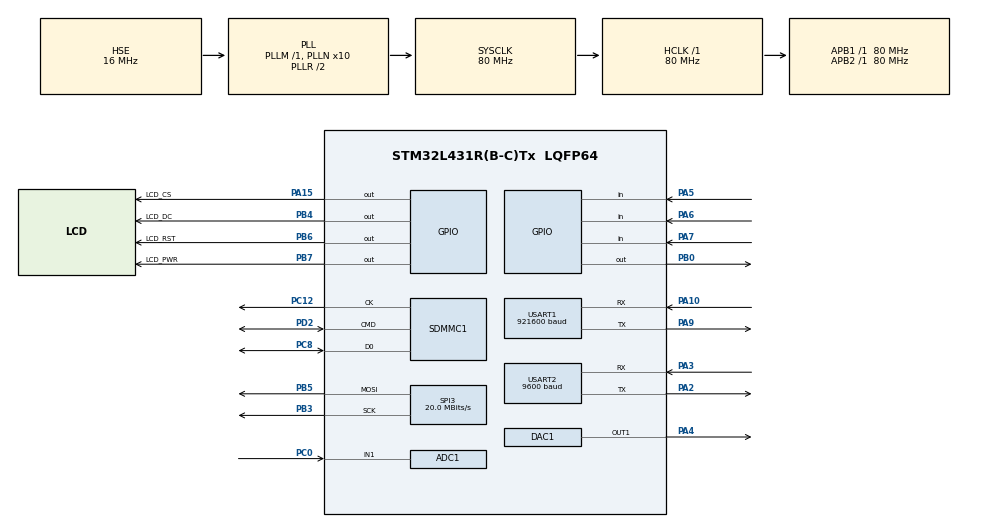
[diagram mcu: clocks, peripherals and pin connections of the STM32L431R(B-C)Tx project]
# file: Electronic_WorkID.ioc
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ADC1.Channel-0\#ChannelRegularConversion=ADC_CHANNEL_1
ADC1.ContinuousConvMode=ENABLE
ADC1.DMAContinuousRequests=ENABLE
ADC1.ExternalTrigConv=ADC_EXTERNALTRIG_T2_TRGO
ADC1.NbrOfConversionFlag=1
ADC1.OffsetNumber-0\#ChannelRegularConversion=ADC_OFFSET_NONE
ADC1.Overrun=ADC_OVR_DATA_OVERWRITTEN
ADC1.Rank-0\#ChannelRegularConversion=1
ADC1.SamplingTime-0\#ChannelRegularConversion=ADC_SAMPLETIME_247CYCLES_5
ADC1.master=1
DAC1.DAC_Trigger-DAC_OUT1_ExtAndInt=DAC_TRIGGER_T6_TRGO
Dma.ADC1.0.Direction=DMA_PERIPH_TO_MEMORY
Dma.ADC1.0.Instance=DMA1_Channel1
Dma.ADC1.0.MemDataAlignment=DMA_MDATAALIGN_HALFWORD
Dma.ADC1.0.MemInc=DMA_MINC_ENABLE
Dma.ADC1.0.Mode=DMA_CIRCULAR
Dma.ADC1.0.PeriphDataAlignment=DMA_PDATAALIGN_HALFWORD
Dma.ADC1.0.PeriphInc=DMA_PINC_DISABLE
Dma.ADC1.0.Priority=DMA_PRIORITY_HIGH
Dma.DAC_CH1.3.Direction=DMA_MEMORY_TO_PERIPH
Dma.DAC_CH1.3.Instance=DMA1_Channel3
Dma.DAC_CH1.3.MemDataAlignment=DMA_MDATAALIGN_HALFWORD
Dma.DAC_CH1.3.MemInc=DMA_MINC_ENABLE
Dma.DAC_CH1.3.Mode=DMA_NORMAL
Dma.DAC_CH1.3.PeriphDataAlignment=DMA_PDATAALIGN_HALFWORD
Dma.DAC_CH1.3.PeriphInc=DMA_PINC_DISABLE
Dma.DAC_CH1.3.Priority=DMA_PRIORITY_LOW
Dma.Request0=ADC1
Dma.Request1=SDMMC1_TX
Dma.Request2=SDMMC1_RX
Dma.Request3=DAC_CH1
Dma.Request4=USART1_RX
Dma.Request5=USART1_TX
Dma.SDMMC1_RX.2.Direction=DMA_PERIPH_TO_MEMORY
Dma.SDMMC1_RX.2.Instance=DMA2_Channel5
Dma.SDMMC1_RX.2.MemDataAlignment=DMA_MDATAALIGN_WORD
Dma.SDMMC1_RX.2.MemInc=DMA_MINC_ENABLE
Dma.SDMMC1_RX.2.Mode=DMA_NORMAL
Dma.SDMMC1_RX.2.PeriphDataAlignment=DMA_PDATAALIGN_WORD
Dma.SDMMC1_RX.2.PeriphInc=DMA_PINC_DISABLE
Dma.SDMMC1_RX.2.Priority=DMA_PRIORITY_HIGH
Dma.SDMMC1_TX.1.Direction=DMA_MEMORY_TO_PERIPH
Dma.SDMMC1_TX.1.Instance=DMA2_Channel4
Dma.SDMMC1_TX.1.MemDataAlignment=DMA_MDATAALIGN_WORD
Dma.SDMMC1_TX.1.MemInc=DMA_MINC_ENABLE
Dma.SDMMC1_TX.1.Mode=DMA_NORMAL
Dma.SDMMC1_TX.1.PeriphDataAlignment=DMA_PDATAALIGN_WORD
Dma.SDMMC1_TX.1.PeriphInc=DMA_PINC_DISABLE
Dma.SDMMC1_TX.1.Priority=DMA_PRIORITY_HIGH
Dma.USART1_RX.4.Direction=DMA_PERIPH_TO_MEMORY
Dma.USART1_RX.4.Instance=DMA1_Channel5
Dma.USART1_RX.4.MemDataAlignment=DMA_MDATAALIGN_BYTE
Dma.USART1_RX.4.MemInc=DMA_MINC_ENABLE
Dma.USART1_RX.4.Mode=DMA_CIRCULAR
Dma.USART1_RX.4.PeriphDataAlignment=DMA_PDATAALIGN_BYTE
Dma.USART1_RX.4.PeriphInc=DMA_PINC_DISABLE
Dma.USART1_RX.4.Priority=DMA_PRIORITY_VERY_HIGH
Dma.USART1_TX.5.Direction=DMA_MEMORY_TO_PERIPH
Dma.USART1_TX.5.Instance=DMA1_Channel4
Dma.USART1_TX.5.MemDataAlignment=DMA_MDATAALIGN_BYTE
Dma.USART1_TX.5.MemInc=DMA_MINC_ENABLE
Dma.USART1_TX.5.Mode=DMA_CIRCULAR
Dma.USART1_TX.5.PeriphDataAlignment=DMA_PDATAALIGN_BYTE
Dma.USART1_TX.5.PeriphInc=DMA_PINC_DISABLE
Dma.USART1_TX.5.Priority=DMA_PRIORITY_VERY_HIGH
FATFS.USE_DMA_CODE_SD=1
FATFS._FS_RPATH=1
FATFS._USE_LFN=1
Mcu.Family=STM32L4
Mcu.Name=STM32L431R(B-C)Tx
Mcu.Package=LQFP64
NVIC.DMA1_Channel1_IRQn=true\:0\:0\:false\:false\:true\:false\:true\:true
NVIC.DMA1_Channel3_IRQn=true\:0\:0\:false\:false\:true\:false\:true\:true
NVIC.DMA1_Channel4_IRQn=true\:0\:0\:false\:false\:true\:false\:true\:true
NVIC.DMA1_Channel5_IRQn=true\:0\:0\:false\:false\:true\:false\:true\:true
NVIC.DMA2_Channel4_IRQn=true\:0\:0\:false\:false\:true\:false\:true\:true
NVIC.DMA2_Channel5_IRQn=true\:0\:0\:false\:false\:true\:false\:true\:true
NVIC.PriorityGroup=NVIC_PRIORITYGROUP_4
NVIC.SDMMC1_IRQn=true\:0\:0\:false\:false\:true\:true\:true\:true
NVIC.TIM2_IRQn=true\:0\:0\:false\:false\:true\:true\:true\:true
NVIC.TIM6_DAC_IRQn=true\:0\:0\:false\:false\:true\:true\:true\:true
NVIC.USART1_IRQn=true\:1\:0\:true\:false\:true\:true\:true\:true
NVIC.USART2_IRQn=true\:2\:0\:true\:false\:true\:true\:true\:true
PA10.Mode=Asynchronous
PA10.Signal=USART1_RX
PA13\ (JTMS-SWDIO).Mode=Serial_Wire
PA13\ (JTMS-SWDIO).Signal=SYS_JTMS-SWDIO
PA14\ (JTCK-SWCLK).Mode=Serial_Wire
PA14\ (JTCK-SWCLK).Signal=SYS_JTCK-SWCLK
PA15\ (JTDI).GPIO_Label=LCD_CS
PA15\ (JTDI).GPIO_PuPd=GPIO_NOPULL
PA15\ (JTDI).GPIO_Speed=GPIO_SPEED_FREQ_LOW
PA15\ (JTDI).PinState=GPIO_PIN_SET
PA15\ (JTDI).Signal=GPIO_Output
PA2.Mode=Asynchronous
PA2.Signal=USART2_TX
PA3.Mode=Asynchronous
PA3.Signal=USART2_RX
PA4.Signal=COMP_DAC11_group
PA5.GPIO_PuPd=GPIO_PULLUP
PA5.Signal=GPIO_Input
PA6.GPIO_PuPd=GPIO_PULLUP
PA6.Signal=GPIO_Input
PA7.GPIO_PuPd=GPIO_PULLUP
PA7.Signal=GPIO_Input
PA9.Mode=Asynchronous
PA9.Signal=USART1_TX
PB0.GPIO_PuPd=GPIO_PULLUP
PB0.PinState=GPIO_PIN_SET
PB0.Signal=GPIO_Output
PB3\ (JTDO-TRACESWO).Mode=TX_Only_Simplex_Unidirect_Master
PB3\ (JTDO-TRACESWO).Signal=SPI3_SCK
PB4\ (NJTRST).GPIO_Label=LCD_DC
PB4\ (NJTRST).GPIO_PuPd=GPIO_NOPULL
PB4\ (NJTRST).GPIO_Speed=GPIO_SPEED_FREQ_LOW
PB4\ (NJTRST).PinState=GPIO_PIN_SET
PB4\ (NJTRST).Signal=GPIO_Output
PB5.Mode=TX_Only_Simplex_Unidirect_Master
PB5.Signal=SPI3_MOSI
PB6.GPIO_Label=LCD_RST
PB6.GPIO_PuPd=GPIO_NOPULL
PB6.GPIO_Speed=GPIO_SPEED_FREQ_LOW
PB6.PinState=GPIO_PIN_SET
PB6.Signal=GPIO_Output
PB7.GPIO_Label=LCD_PWR
PB7.GPIO_PuPd=GPIO_NOPULL
PB7.GPIO_Speed=GPIO_SPEED_FREQ_LOW
PB7.PinState=GPIO_PIN_SET
PB7.Signal=GPIO_Output
PC0.Signal=ADCx_IN1
PC12.Mode=SD_1_bit
PC12.Signal=SDMMC1_CK
PC14-OSC32_IN\ (PC14).Mode=LSE-External-Oscillator
PC14-OSC32_IN\ (PC14).Signal=RCC_OSC32_IN
PC15-OSC32_OUT\ (PC15).Mode=LSE-External-Oscillator
PC15-OSC32_OUT\ (PC15).Signal=RCC_OSC32_OUT
PC8.GPIO_PuPd=GPIO_PULLUP
PC8.Mode=SD_1_bit
PC8.Signal=SDMMC1_D0
PD2.GPIO_PuPd=GPIO_PULLUP
PD2.Mode=SD_1_bit
PD2.Signal=SDMMC1_CMD
PH0-OSC_IN\ (PH0).Mode=HSE-External-Oscillator
PH0-OSC_IN\ (PH0).Signal=RCC_OSC_IN
PH1-OSC_OUT\ (PH1).Mode=HSE-External-Oscillator
PH1-OSC_OUT\ (PH1).Signal=RCC_OSC_OUT
ProjectManager.HeapSize=0x200
ProjectManager.StackSize=0x400
ProjectManager.TargetToolchain=CMake
RCC.ADCFreq_Value=64000000
RCC.AHBFreq_Value=80000000
RCC.APB1Freq_Value=80000000
RCC.APB1TimFreq_Value=80000000
RCC.APB2Freq_Value=80000000
RCC.APB2TimFreq_Value=80000000
RCC.CortexFreq_Value=80000000
RCC.HCLKFreq_Value=80000000
RCC.HSE_VALUE=16000000
RCC.HSI48_VALUE=48000000
RCC.HSI_VALUE=16000000
RCC.MSI_VALUE=4000000
RCC.PLLN=10
RCC.PLLSAI1Q=RCC_PLLQ_DIV4
RCC.PLLSourceVirtual=RCC_PLLSOURCE_HSE
RCC.RTCClockSelection=RCC_RTCCLKSOURCE_LSE
RCC.SYSCLKFreq_VALUE=80000000
RCC.SYSCLKSource=RCC_SYSCLKSOURCE_PLLCLK
RCC.VCOOutputFreq_Value=160000000
RTC.Date=30
RTC.Month=RTC_MONTH_MAY
RTC.WeekDay=RTC_WEEKDAY_SATURDAY
RTC.Year=26
SDMMC1.ClockDiv=118
SH.ADCx_IN1.0=ADC1_IN1,IN1-Single-Ended
SH.COMP_DAC11_group.0=DAC1_OUT1,DAC_OUT1_ExtAndInt
SPI3.BaudRatePrescaler=SPI_BAUDRATEPRESCALER_4
SPI3.CalculateBaudRate=20.0 MBits/s
SPI3.DataSize=SPI_DATASIZE_8BIT
SPI3.Direction=SPI_DIRECTION_2LINES
SPI3.Mode=SPI_MODE_MASTER
SPI3.VirtualType=VM_MASTER
TIM2.AutoReloadPreload=TIM_AUTORELOAD_PRELOAD_ENABLE
TIM2.Period=4999
TIM2.Prescaler=0
TIM2.TIM_MasterOutputTrigger=TIM_TRGO_UPDATE
TIM6.Period=4999
TIM6.Prescaler=0
TIM6.TIM_MasterOutputTrigger=TIM_TRGO_UPDATE
USART1.BaudRate=921600
USART1.VirtualMode-Asynchronous=VM_ASYNC
USART2.BaudRate=9600
USART2.VirtualMode-Asynchronous=VM_ASYNC
VP_FATFS_VS_SDIO.Mode=SDIO
VP_RTC_VS_RTC_Activate.Mode=RTC_Enabled
VP_RTC_VS_RTC_Calendar.Mode=RTC_Calendar
VP_TIM2_VS_ClockSourceINT.Mode=Internal
VP_TIM6_VS_ClockSourceINT.Mode=Enable_Timer
board=custom

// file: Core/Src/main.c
/* USER CODE BEGIN Header */
/**
  ******************************************************************************
  * @file           : main.c
  * @brief          : Main program body
  ******************************************************************************
  * @attention
  *
  * Copyright (c) 2026 STMicroelectronics.
  * All rights reserved.
  *
  * This software is licensed under terms that can be found in the LICENSE file
  * in the root directory of this software component.
  * If no LICENSE file comes with this software, it is provided AS-IS.
  *
  ******************************************************************************
  */
/* USER CODE END Header */
#include "main.h"
#include "adc.h"
#include "dac.h"
#include "dma.h"
#include "fatfs.h"
#include "rtc.h"
#include "sdmmc.h"
#include "spi.h"
#include "tim.h"
#include "usart.h"
#include "gpio.h"

/* USER CODE BEGIN Includes */
#include "stdio.h"
#include "st7735.h"
#include "fonts.h"
#include "led.h"
#include "audio_detect.h"
#include "lcd_display.h"
#include "gps.h"
#include "recorder.h"
#include "key.h"
#include "tts_player.h"
#include "four_g_mqtt.h"
#include "four_g_time.h"
#include "audio_uploader.h"

/* USER CODE END Includes */

/* USER CODE BEGIN PTD */
typedef enum {
  GPS_UPLOAD_STATE_IDLE = 0,
  GPS_UPLOAD_STATE_CONNECT_WAIT,
  GPS_UPLOAD_STATE_TIME_WAIT,
  GPS_UPLOAD_STATE_PUBLISH_WAIT,
  GPS_UPLOAD_STATE_DISCONNECT_WAIT
} GpsUploadState_t;

typedef enum {
  WORK_CARD_TIME_IDLE = 0,
  WORK_CARD_TIME_WAIT_RETRY,
  WORK_CARD_TIME_QUERY_BUSY,
  WORK_CARD_TIME_OK,
  WORK_CARD_TIME_FAILED
} WorkCardTimeState_t;

/* USER CODE END PTD */

/* USER CODE BEGIN PV */
static GpsUploadState_t gGpsUploadState = GPS_UPLOAD_STATE_IDLE;
static float gPendingGpsLatitude = 0.0f;
static float gPendingGpsLongitude = 0.0f;
static char gPendingGpsTimestamp[24];

/* USER CODE END PV */

void SystemClock_Config(void);
void PeriphCommonClock_Config(void);
/* USER CODE BEGIN PFP */
// 保留旧声音检测功能相关缓冲区定义（当前不启用）
// #define ADC_BUFFER_SIZE  128
// uint16_t adc_buffer1[ADC_BUFFER_SIZE];
// uint16_t adc_buffer2[ADC_BUFFER_SIZE];

/* 录音模块全局上下文：负责采样、缓存和写卡状态 */
static Recorder_t gRecorder;
#define RECORD_SLICE_DURATION_MS  10000U
static uint32_t gRecordingSessionId = 0U;
static uint32_t gCurrentSessionId = 0U;
static uint16_t gCurrentSliceIndex = 0U;
static uint32_t gSliceStartTick = 0U;
static char gCurrentWavName[AUDIO_UPLOADER_FILENAME_MAX];

static void BuildWavFilename(char *buffer, uint16_t buffer_size, uint32_t session_id, uint16_t slice_index)
{
  if ((buffer == NULL) || (buffer_size == 0U)) {
    return;
  }

  (void)snprintf(buffer, buffer_size, "%lu_%04u.wav", (unsigned long)session_id, (unsigned int)slice_index);
}
static uint8_t App_CalcWeekday(uint16_t year, uint8_t month, uint8_t day)
{
  static const uint8_t month_offset[12] = {0U, 3U, 2U, 5U, 0U, 3U, 5U, 1U, 4U, 6U, 2U, 4U};
  uint16_t y = year;
  uint8_t weekday;

  if ((month < 1U) || (month > 12U)) {
    return RTC_WEEKDAY_MONDAY;
  }

  if (month < 3U) {
    y--;
  }

  weekday = (uint8_t)((y + y / 4U - y / 100U + y / 400U + month_offset[month - 1U] + day) % 7U);
  return (weekday == 0U) ? RTC_WEEKDAY_SUNDAY : weekday;
}

static bool App_SetRtcFromFourGTime(const FourGTime_t *time)
{
  RTC_TimeTypeDef rtc_time = {0};
  RTC_DateTypeDef rtc_date = {0};

  if ((time == NULL) || (time->year < 2000U) || (time->month < 1U) || (time->month > 12U)) {
    return false;
  }

  rtc_time.Hours = time->hour;
  rtc_time.Minutes = time->minute;
  rtc_time.Seconds = time->second;
  rtc_time.DayLightSaving = RTC_DAYLIGHTSAVING_NONE;
  rtc_time.StoreOperation = RTC_STOREOPERATION_RESET;

  rtc_date.Year = (uint8_t)(time->year - 2000U);
  rtc_date.Month = time->month;
  rtc_date.Date = time->day;
  rtc_date.WeekDay = App_CalcWeekday(time->year, time->month, time->day);

  if (HAL_RTC_SetTime(&hrtc, &rtc_time, RTC_FORMAT_BIN) != HAL_OK) {
    return false;
  }

  return HAL_RTC_SetDate(&hrtc, &rtc_date, RTC_FORMAT_BIN) == HAL_OK;
}

static bool App_DisplayRtcClock(bool force_refresh)
{
  static uint8_t last_hour = 0xFFU;
  static uint8_t last_minute = 0xFFU;
  RTC_TimeTypeDef rtc_time = {0};
  RTC_DateTypeDef rtc_date = {0};

  if (HAL_RTC_GetTime(&hrtc, &rtc_time, RTC_FORMAT_BIN) != HAL_OK) {
    return false;
  }

  if (HAL_RTC_GetDate(&hrtc, &rtc_date, RTC_FORMAT_BIN) != HAL_OK) {
    return false;
  }

  if (force_refresh || (rtc_time.Hours != last_hour) || (rtc_time.Minutes != last_minute)) {
    LCD_DisplayClockValue(rtc_time.Hours, rtc_time.Minutes);
    last_hour = rtc_time.Hours;
    last_minute = rtc_time.Minutes;
  }

  return true;
}
/* USER CODE END PFP */

/* USER CODE BEGIN 0 */
void MX_TIM2_Init(void);
/* USER CODE END 0 */

int main(void)
{

  /* MCU Configuration--------------------------------------------------------*/

  /* Reset of all peripherals, Initializes the Flash interface and the Systick. */
  HAL_Init();

  /* Configure the system clock */
  SystemClock_Config();

  /* Configure the peripherals common clocks */
  PeriphCommonClock_Config();

  /* Initialize all configured peripherals */
  MX_GPIO_Init();
  MX_DMA_Init();
  MX_SPI3_Init();
  MX_ADC1_Init();
  MX_TIM2_Init();
  MX_USART2_UART_Init();
  MX_SDMMC1_SD_Init();
  MX_FATFS_Init();
  MX_DAC1_Init();
  MX_TIM6_Init();
  MX_USART1_UART_Init();
  MX_RTC_Init();
  /* USER CODE BEGIN 2 */
  FourG_MQTT_Init(&huart1);
  FourG_Time_Init(&huart1);
  AudioUploader_Init();

  ST7735_Init();
  LED_Init();
  TTS_Player_Init();

  /* 不在上电阶段初始化录音存储链路，避免 SD/FATFS 上电抖动影响主循环 */

  // 初始化 LCD 显示
  LCD_DisplayInit();

  // 初始化 GPS 模块
  GPS_Init();
  clrStruct();

  /* USER CODE END 2 */

  /* Infinite loop */
  /* USER CODE BEGIN WHILE */

  // 显示状态标志
  static bool soundDisplayState = false;      // 声音检测显示状态（旧功能保留）
  static bool gpsDisplayState = false;        // GPS 显示状态
  static uint32_t lastUploadDisplayTick = 0U; // 上一次上传状态刷新时间
  static uint32_t uploadEnableTick = 0U;      // 停止录音后延迟启动上传的时间点
  static bool stopMsgActive = false;          // 停止录音提示是否处于显示中
  static uint32_t stopMsgStartTick = 0U;      // 停止录音提示起始时间
  static bool errorMsgActive = false;         // SD 错误提示显示中
  static uint32_t errorMsgStartTick = 0U;     // SD 错误提示起始时间
  static bool pendingStartRecordingAfterTts = false;
  static bool waitingStartRecordingDelay = false;
  static uint32_t startRecordingDelayTick = 0U;
  static uint8_t key0PrevPressed = 0U;        // KEY0 上一次稳定按下状态
  static uint8_t key1PrevPressed = 0U;        // KEY1 上一次稳定按下状态
  static uint8_t key2PrevPressed = 0U;        // KEY2 上一次稳定按下状态
  static bool workCardDisplayActive = false;  // 电子工牌测试界面显示中
  static WorkCardTimeState_t workCardTimeState = WORK_CARD_TIME_IDLE;
  static uint32_t workCardTimeNextTryTick = 0U;
  static uint32_t workCardClockRefreshTick = 0U;
  static uint8_t workCardTimeTryCount = 0U;

  static uint32_t lastGpsUploadTick = 0U;     // 上一次 4G 上传 GPS 的时间
  static bool gpsLocationUploaded = false;    // 是否已经上传过有效 GPS 位置
  uint8_t key0Pressed = 0U;
  uint8_t key1Pressed = 0U;
  uint8_t key2Pressed = 0U;
  RecorderResult_t rec_ret = RECORDER_OK;

  key0PrevPressed = (KEY0 == KEY0_ON) ? 1U : 0U;
  key1PrevPressed = (KEY1 == KEY1_ON) ? 1U : 0U;
  key2PrevPressed = (KEY2 == KEY2_ON) ? 1U : 0U;

  while (1)
  {
    // LED_Process();

    /* 开始录音提示音结束后，延迟 10ms 再真正启动录音上传，避免提示音进入录音并让外设状态稳定 */
    if (pendingStartRecordingAfterTts && !TTS_Player_IsBusy()) {
      pendingStartRecordingAfterTts = false;
      waitingStartRecordingDelay = true;
      startRecordingDelayTick = HAL_GetTick();
    }

    if (waitingStartRecordingDelay && ((HAL_GetTick() - startRecordingDelayTick) >= 10U)) {
      waitingStartRecordingDelay = false;

      if ((Recorder_GetState(&gRecorder) == RECORDER_STATE_IDLE) ||
          (Recorder_GetState(&gRecorder) == RECORDER_STATE_ERROR)) {
        rec_ret = Recorder_Init(&gRecorder);
        if (rec_ret != RECORDER_OK) {
          LCD_DisplayStorageErrorDetail(Recorder_GetLastErrorStage(&gRecorder), Recorder_GetLastFresult(&gRecorder));
          errorMsgActive = true;
          errorMsgStartTick = HAL_GetTick();
          continue;
        }
      }

      if (Recorder_GetState(&gRecorder) == RECORDER_STATE_READY) {
        AudioUploader_Abort();
        uploadEnableTick = 0U;
        gRecordingSessionId++;
        if (gRecordingSessionId == 0U) {
          gRecordingSessionId = 1U;
        }
        gCurrentSessionId = gRecordingSessionId;
        gCurrentSliceIndex = 1U;
        BuildWavFilename(gCurrentWavName, sizeof(gCurrentWavName), gCurrentSessionId, gCurrentSliceIndex);

        rec_ret = Recorder_Start(&gRecorder, gCurrentWavName, 0U);
        if (rec_ret == RECORDER_OK) {
          gSliceStartTick = HAL_GetTick();
          LCD_DisplayRecordingStarted();
          stopMsgActive = false;
          errorMsgActive = false;
        } else {
          LCD_DisplayStorageErrorDetail(Recorder_GetLastErrorStage(&gRecorder), Recorder_GetLastFresult(&gRecorder));
          errorMsgActive = true;
          errorMsgStartTick = HAL_GetTick();
        }
      }
    }

    /* 录音过程中持续搬运双缓冲数据并写入 SD */
    if (Recorder_GetState(&gRecorder) == RECORDER_STATE_RECORDING) {
      rec_ret = Recorder_Process(&gRecorder);
      if (rec_ret != RECORDER_OK) {
        LCD_DisplayStorageErrorDetail(Recorder_GetLastErrorStage(&gRecorder), Recorder_GetLastFresult(&gRecorder));
        errorMsgActive = true;
        errorMsgStartTick = HAL_GetTick();
      } else if ((HAL_GetTick() - gSliceStartTick) >= RECORD_SLICE_DURATION_MS) {
        char completedWavName[AUDIO_UPLOADER_FILENAME_MAX];
        char nextWavName[AUDIO_UPLOADER_FILENAME_MAX];

        (void)snprintf(completedWavName, sizeof(completedWavName), "%s", gCurrentWavName);
        gCurrentSliceIndex++;
        BuildWavFilename(nextWavName, sizeof(nextWavName), gCurrentSessionId, gCurrentSliceIndex);

        rec_ret = Recorder_SwitchFile(&gRecorder, nextWavName);
        if (rec_ret == RECORDER_OK) {
          (void)AudioUploader_EnqueueFile(completedWavName, gCurrentSessionId, false);
          (void)snprintf(gCurrentWavName, sizeof(gCurrentWavName), "%s", nextWavName);
          gSliceStartTick = HAL_GetTick();
        } else {
          LCD_DisplayStorageErrorDetail(Recorder_GetLastErrorStage(&gRecorder), Recorder_GetLastFresult(&gRecorder));
          errorMsgActive = true;
          errorMsgStartTick = HAL_GetTick();
        }
      }
    }

    /*
    // 旧功能保留：声音检测并切屏显示
    SoundDetector_Process(&gSoundDetector);
    if (SoundDetector_IsDetected(&gSoundDetector))
    {
      if (!soundDisplayState)
      {
        LCD_DisplaySoundDetected();
        soundDisplayState = true;
      }
    }
    else
    {
      if (soundDisplayState)
      {
        soundDisplayState = false;
        LCD_DisplayWaiting();
      }
    }
    */
    (void)soundDisplayState;

    /* 独立读取三个按键，避免共享状态机导致按键被漏检 */
    key0Pressed = (KEY0 == KEY0_ON) ? 1U : 0U;
    key1Pressed = (KEY1 == KEY1_ON) ? 1U : 0U;
    key2Pressed = (KEY2 == KEY2_ON) ? 1U : 0U;

    if ((key0Pressed != 0U) && (key0PrevPressed == 0U)) {
      /* KEY0(PA7): 开始录音 */
      if ((Recorder_GetState(&gRecorder) != RECORDER_STATE_RECORDING) &&
          !pendingStartRecordingAfterTts &&
          !waitingStartRecordingDelay &&
          !TTS_Player_IsBusy()) {
        if (TTS_Player_PlayStartRecord()) {
          FourG_Time_AsyncCancel();
          workCardDisplayActive = false;
          pendingStartRecordingAfterTts = true;
          stopMsgActive = false;
          errorMsgActive = false;
        }
      }
    }

    if ((key1Pressed != 0U) && (key1PrevPressed == 0U)) {
      /* KEY1(PA6): 停止录音并回填 WAV 头 */
      if (Recorder_GetState(&gRecorder) == RECORDER_STATE_RECORDING) {
        rec_ret = Recorder_Stop(&gRecorder);
        if (rec_ret == RECORDER_OK) {
          if (gCurrentSessionId != 0U) {
            (void)AudioUploader_EnqueueFile(gCurrentWavName, gCurrentSessionId, true);
            AudioUploader_MarkLastQueuedFileFinal(gCurrentSessionId);
          }
          FourG_Time_AsyncCancel();
          workCardDisplayActive = false;
          LCD_DisplayRecordingStopped();
          stopMsgActive = true;
          stopMsgStartTick = HAL_GetTick();
          uploadEnableTick = HAL_GetTick() + 5000U;
          errorMsgActive = false;
          gCurrentSessionId = 0U;
          gCurrentSliceIndex = 0U;
          (void)TTS_Player_PlayStopRecord();
        } else {
          LCD_DisplayStorageErrorDetail(Recorder_GetLastErrorStage(&gRecorder), Recorder_GetLastFresult(&gRecorder));
          errorMsgActive = true;
          errorMsgStartTick = HAL_GetTick();
        }
      }
    }

    if ((key2Pressed != 0U) && (key2PrevPressed == 0U)) {
      /* KEY2(PA5): 进入电子工牌测试界面并启动 4G 时间同步 */
      workCardDisplayActive = true;
      FourG_Time_AsyncCancel();
      workCardTimeState = WORK_CARD_TIME_WAIT_RETRY;
      workCardTimeTryCount = 0U;
      workCardTimeNextTryTick = HAL_GetTick();
      workCardClockRefreshTick = 0U;
      stopMsgActive = false;
      errorMsgActive = false;
      gpsDisplayState = false;
      LCD_DisplayWorkCardInit();
    }

    if (workCardDisplayActive) {
      if (workCardTimeState == WORK_CARD_TIME_WAIT_RETRY) {
        if ((int32_t)(HAL_GetTick() - workCardTimeNextTryTick) >= 0) {
          FourGTime_t networkTime;
          FourGTimeResult_t timeResult;

          workCardTimeTryCount++;
          timeResult = FourG_Time_Get(&networkTime, 3000U);
          FourG_MQTT_Init(&huart1);

          if ((timeResult == FOUR_G_TIME_OK) && App_SetRtcFromFourGTime(&networkTime)) {
            bool forceClockRefresh = (workCardClockRefreshTick == 0U);
            (void)App_DisplayRtcClock(forceClockRefresh);
            workCardClockRefreshTick = HAL_GetTick();

            if (workCardTimeTryCount >= 5U) {
              workCardTimeState = WORK_CARD_TIME_OK;
            } else {
              workCardTimeNextTryTick = HAL_GetTick() + 1000U;
            }
          } else if (workCardTimeTryCount >= 5U) {
            workCardTimeState = WORK_CARD_TIME_FAILED;
            LCD_DisplayClockInvalid();
          } else {
            workCardTimeNextTryTick = HAL_GetTick() + 1000U;
          }
        }
      } else if ((workCardTimeState == WORK_CARD_TIME_OK) &&
                 ((workCardClockRefreshTick == 0U) || ((HAL_GetTick() - workCardClockRefreshTick) >= 1000U))) {
        workCardClockRefreshTick = HAL_GetTick();
        if (!App_DisplayRtcClock(false)) {
          workCardTimeState = WORK_CARD_TIME_FAILED;
          LCD_DisplayClockInvalid();
        }
      }
    }

    key0PrevPressed = key0Pressed;
    key1PrevPressed = key1Pressed;
    key2PrevPressed = key2Pressed;

    if (stopMsgActive && ((HAL_GetTick() - stopMsgStartTick) >= 2000U)) {
      LCD_DisplayInit();
      stopMsgActive = false;
    }

    if (errorMsgActive && ((HAL_GetTick() - errorMsgStartTick) >= 2000U)) {
      LCD_DisplayInit();
      errorMsgActive = false;
    }

    // 处理 GPS 数据
    {
      uint8_t gpsParsed = 0U;

      parseGpsBuffer();
      if (Save_Data.isParseData)
      {
        gpsParsed = 1U;
      }

      switch (gGpsUploadState)
      {
        case GPS_UPLOAD_STATE_CONNECT_WAIT:
        {
          FourGMqttAsyncStatus_t status = FourG_MQTT_AsyncProcess();
          if (status == FOUR_G_MQTT_ASYNC_DONE)
          {
            if (FourG_MQTT_AsyncGetUnixTimeStart() == FOUR_G_MQTT_OK)
            {
              gGpsUploadState = GPS_UPLOAD_STATE_TIME_WAIT;
            }
            else
            {
              (void)snprintf(gPendingGpsTimestamp, sizeof(gPendingGpsTimestamp), "1970-01-01T00:00:00Z");
              if (FourG_MQTT_AsyncPublishLocationStart(gPendingGpsLatitude, gPendingGpsLongitude, gPendingGpsTimestamp) == FOUR_G_MQTT_OK)
              {
                gGpsUploadState = GPS_UPLOAD_STATE_PUBLISH_WAIT;
              }
              else if (FourG_MQTT_AsyncDisconnectStart() == FOUR_G_MQTT_OK)
              {
                gGpsUploadState = GPS_UPLOAD_STATE_DISCONNECT_WAIT;
              }
              else
              {
                lastGpsUploadTick = HAL_GetTick();
                gGpsUploadState = GPS_UPLOAD_STATE_IDLE;
              }
            }
          }
          else if (status == FOUR_G_MQTT_ASYNC_ERROR)
          {
            if (FourG_MQTT_AsyncDisconnectStart() == FOUR_G_MQTT_OK)
            {
              gGpsUploadState = GPS_UPLOAD_STATE_DISCONNECT_WAIT;
            }
            else
            {
              lastGpsUploadTick = HAL_GetTick();
              gGpsUploadState = GPS_UPLOAD_STATE_IDLE;
            }
          }
          break;
        }

        case GPS_UPLOAD_STATE_TIME_WAIT:
        {
          FourGMqttAsyncStatus_t status = FourG_MQTT_AsyncProcess();
          if (status == FOUR_G_MQTT_ASYNC_DONE)
          {
            if (!FourG_MQTT_AsyncGetTimestamp(gPendingGpsTimestamp, sizeof(gPendingGpsTimestamp)))
            {
              (void)snprintf(gPendingGpsTimestamp, sizeof(gPendingGpsTimestamp), "1970-01-01T00:00:00Z");
            }

            if (FourG_MQTT_AsyncPublishLocationStart(gPendingGpsLatitude, gPendingGpsLongitude, gPendingGpsTimestamp) == FOUR_G_MQTT_OK)
            {
              gGpsUploadState = GPS_UPLOAD_STATE_PUBLISH_WAIT;
            }
            else if (FourG_MQTT_AsyncDisconnectStart() == FOUR_G_MQTT_OK)
            {
              gGpsUploadState = GPS_UPLOAD_STATE_DISCONNECT_WAIT;
            }
            else
            {
              lastGpsUploadTick = HAL_GetTick();
              gGpsUploadState = GPS_UPLOAD_STATE_IDLE;
            }
          }
          else if (status == FOUR_G_MQTT_ASYNC_ERROR)
          {
            (void)snprintf(gPendingGpsTimestamp, sizeof(gPendingGpsTimestamp), "1970-01-01T00:00:00Z");
            if (FourG_MQTT_AsyncPublishLocationStart(gPendingGpsLatitude, gPendingGpsLongitude, gPendingGpsTimestamp) == FOUR_G_MQTT_OK)
            {
              gGpsUploadState = GPS_UPLOAD_STATE_PUBLISH_WAIT;
            }
            else if (FourG_MQTT_AsyncDisconnectStart() == FOUR_G_MQTT_OK)
            {
              gGpsUploadState = GPS_UPLOAD_STATE_DISCONNECT_WAIT;
            }
            else
            {
              lastGpsUploadTick = HAL_GetTick();
              gGpsUploadState = GPS_UPLOAD_STATE_IDLE;
            }
          }
          break;
        }

        case GPS_UPLOAD_STATE_PUBLISH_WAIT:
        {
          FourGMqttAsyncStatus_t status = FourG_MQTT_AsyncProcess();
          if (status == FOUR_G_MQTT_ASYNC_DONE)
          {
            lastGpsUploadTick = HAL_GetTick();
            gpsLocationUploaded = true;
            gGpsUploadState = GPS_UPLOAD_STATE_IDLE;
          }
          else if (status == FOUR_G_MQTT_ASYNC_ERROR)
          {
            if (FourG_MQTT_AsyncDisconnectStart() == FOUR_G_MQTT_OK)
            {
              gGpsUploadState = GPS_UPLOAD_STATE_DISCONNECT_WAIT;
            }
            else
            {
              lastGpsUploadTick = HAL_GetTick();
              gGpsUploadState = GPS_UPLOAD_STATE_IDLE;
            }
          }
          break;
        }

        case GPS_UPLOAD_STATE_DISCONNECT_WAIT:
        {
          FourGMqttAsyncStatus_t status = FourG_MQTT_AsyncProcess();
          if (status != FOUR_G_MQTT_ASYNC_BUSY)
          {
            lastGpsUploadTick = HAL_GetTick();
            gGpsUploadState = GPS_UPLOAD_STATE_IDLE;
          }
          break;
        }

        case GPS_UPLOAD_STATE_IDLE:
        default:
          break;
      }

      if (false &&
          (gGpsUploadState == GPS_UPLOAD_STATE_IDLE) &&
          (gpsParsed != 0U) && (Save_Data.isUsefull) &&
          (Recorder_GetState(&gRecorder) != RECORDER_STATE_RECORDING) &&
          !stopMsgActive && !errorMsgActive &&
          (!gpsLocationUploaded || ((HAL_GetTick() - lastGpsUploadTick) >= 30000U)))
      {
        float latitude = ConvertLatitude(Save_Data.latitude, Save_Data.N_S[0]);
        float longitude = ConvertLongitude(Save_Data.longitude, Save_Data.E_W[0]);

        if ((latitude != 0.0f) && (longitude != 0.0f) && !AudioUploader_IsBusy())
        {
          gPendingGpsLatitude = latitude;
          gPendingGpsLongitude = longitude;
          if (FourG_MQTT_AsyncEnsureConnectedStart() == FOUR_G_MQTT_OK)
          {
            gGpsUploadState = GPS_UPLOAD_STATE_CONNECT_WAIT;
          }
          else
          {
            lastGpsUploadTick = HAL_GetTick();
          }
        }
      }

      if (!workCardDisplayActive && !stopMsgActive && !errorMsgActive &&
          (Recorder_GetState(&gRecorder) != RECORDER_STATE_RECORDING))
      {
        if ((gpsParsed != 0U) || !gpsDisplayState)
        {
          LCD_DisplayGPS();
          gpsDisplayState = true;
        }
      }

      if (gpsParsed != 0U)
      {
        Save_Data.isParseData = false;
      }

      /* GPS printf debug is disabled because __io_putchar is not retargeted in this project. */
    }

    // GPS 调试信息：显示接收计数（始终显示）
    // {
    //   static uint32_t lastRxCount = 0;
    //   static uint32_t lastDisplayTick = 0;
    //   uint32_t currentRxCount = GPS_GetRxCount();

    //   if (HAL_GetTick() - lastDisplayTick > 1000) {
    //     lastDisplayTick = HAL_GetTick();

    //     ST7735_FillRect(0, 64, ST7735_WIDTH, 16, ST7735_BLACK);

    //     if (currentRxCount != lastRxCount) {
    //       LCD_DisplayDebug(0, "GPS Rx: %lu bytes", currentRxCount);
    //       lastRxCount = currentRxCount;
    //     } else if (currentRxCount > 0) {
    //       LCD_DisplayDebug(0, "GPS Rx: %lu live", currentRxCount);
    //     } else {
    //       LCD_DisplayDebug(0, "GPS Rx: waiting");
    //     }
    //   }
    // }

    if (!workCardDisplayActive &&
        (Recorder_GetState(&gRecorder) != RECORDER_STATE_RECORDING) &&
        !stopMsgActive && !errorMsgActive) {
      if ((HAL_GetTick() - lastUploadDisplayTick) >= 1000U) {
        lastUploadDisplayTick = HAL_GetTick();
        LCD_DisplayUploadStatus();
      }

      if ((uploadEnableTick == 0U) || ((int32_t)(HAL_GetTick() - uploadEnableTick) >= 0)) {
        AudioUploader_Process();
      }
    }

    /* USER CODE END WHILE */

  }
}

void SystemClock_Config(void)
{
  RCC_OscInitTypeDef RCC_OscInitStruct = {0};
  RCC_ClkInitTypeDef RCC_ClkInitStruct = {0};

  /** Configure the main internal regulator output voltage
  */
  if (HAL_PWREx_ControlVoltageScaling(PWR_REGULATOR_VOLTAGE_SCALE1) != HAL_OK)
  {
    Error_Handler();
  }

  /** Configure LSE Drive Capability
  */
  HAL_PWR_EnableBkUpAccess();
  __HAL_RCC_LSEDRIVE_CONFIG(RCC_LSEDRIVE_LOW);

  /** Initializes the RCC Oscillators according to the specified parameters
  * in the RCC_OscInitTypeDef structure.
  */
  RCC_OscInitStruct.OscillatorType = RCC_OSCILLATORTYPE_HSE|RCC_OSCILLATORTYPE_LSE;
  RCC_OscInitStruct.HSEState = RCC_HSE_ON;
  RCC_OscInitStruct.LSEState = RCC_LSE_ON;
  RCC_OscInitStruct.PLL.PLLState = RCC_PLL_ON;
  RCC_OscInitStruct.PLL.PLLSource = RCC_PLLSOURCE_HSE;
  RCC_OscInitStruct.PLL.PLLM = 1;
  RCC_OscInitStruct.PLL.PLLN = 10;
  RCC_OscInitStruct.PLL.PLLP = RCC_PLLP_DIV7;
  RCC_OscInitStruct.PLL.PLLQ = RCC_PLLQ_DIV2;
  RCC_OscInitStruct.PLL.PLLR = RCC_PLLR_DIV2;
  if (HAL_RCC_OscConfig(&RCC_OscInitStruct) != HAL_OK)
  {
    Error_Handler();
  }

  /** Initializes the CPU, AHB and APB buses clocks
  */
  RCC_ClkInitStruct.ClockType = RCC_CLOCKTYPE_HCLK|RCC_CLOCKTYPE_SYSCLK
                              |RCC_CLOCKTYPE_PCLK1|RCC_CLOCKTYPE_PCLK2;
  RCC_ClkInitStruct.SYSCLKSource = RCC_SYSCLKSOURCE_PLLCLK;
  RCC_ClkInitStruct.AHBCLKDivider = RCC_SYSCLK_DIV1;
  RCC_ClkInitStruct.APB1CLKDivider = RCC_HCLK_DIV1;
  RCC_ClkInitStruct.APB2CLKDivider = RCC_HCLK_DIV1;

  if (HAL_RCC_ClockConfig(&RCC_ClkInitStruct, FLASH_LATENCY_4) != HAL_OK)
  {
    Error_Handler();
  }
}

void PeriphCommonClock_Config(void)
{
  RCC_PeriphCLKInitTypeDef PeriphClkInit = {0};

  /** Initializes the peripherals clock
  */
  PeriphClkInit.PeriphClockSelection = RCC_PERIPHCLK_SDMMC1|RCC_PERIPHCLK_ADC;
  PeriphClkInit.AdcClockSelection = RCC_ADCCLKSOURCE_PLLSAI1;
  PeriphClkInit.Sdmmc1ClockSelection = RCC_SDMMC1CLKSOURCE_PLLSAI1;
  PeriphClkInit.PLLSAI1.PLLSAI1Source = RCC_PLLSOURCE_HSE;
  PeriphClkInit.PLLSAI1.PLLSAI1M = 1;
  PeriphClkInit.PLLSAI1.PLLSAI1N = 8;
  PeriphClkInit.PLLSAI1.PLLSAI1P = RCC_PLLP_DIV7;
  PeriphClkInit.PLLSAI1.PLLSAI1Q = RCC_PLLQ_DIV4;
  PeriphClkInit.PLLSAI1.PLLSAI1R = RCC_PLLR_DIV2;
  PeriphClkInit.PLLSAI1.PLLSAI1ClockOut = RCC_PLLSAI1_48M2CLK|RCC_PLLSAI1_ADC1CLK;
  if (HAL_RCCEx_PeriphCLKConfig(&PeriphClkInit) != HAL_OK)
  {
    Error_Handler();
  }
}

/* USER CODE BEGIN 4 */
void HAL_ADC_ConvHalfCpltCallback(ADC_HandleTypeDef* hadc)
{
  if (hadc->Instance != ADC1) {
    return;
  }

  /* DMA 半传输中断：标记并搬运前半缓冲 */
  Recorder_OnAdcHalfComplete(&gRecorder);

  // 旧功能保留（不启用）：
  // SoundDetector_OnAdcHalfComplete(&gSoundDetector);
}

void HAL_ADC_ConvCpltCallback(ADC_HandleTypeDef* hadc)
{
  if (hadc->Instance != ADC1) {
    return;
  }

  /* DMA 全传输中断：标记并搬运后半缓冲 */
  Recorder_OnAdcFullComplete(&gRecorder);

  // 旧功能保留（不启用）：
  // SoundDetector_OnAdcFullComplete(&gSoundDetector);
}

/* USER CODE END 4 */

void Error_Handler(void)
{
  __disable_irq();
  while (1)
  {
  }
}
